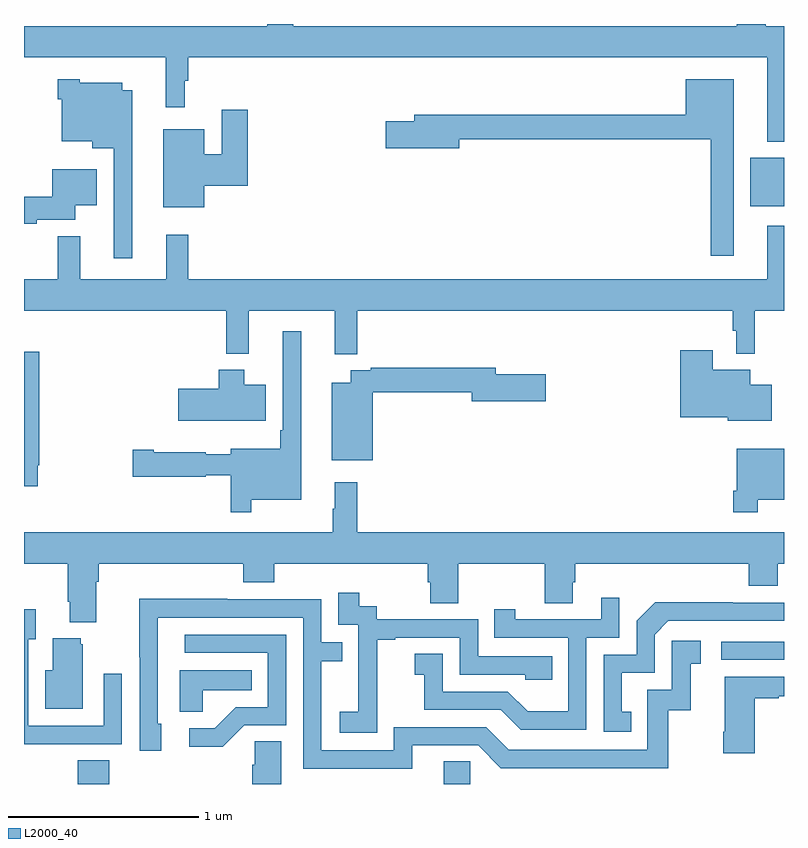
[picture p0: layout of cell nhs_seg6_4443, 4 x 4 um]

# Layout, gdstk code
import gdstk
lib = gdstk.Library(unit=1e-6, precision=1e-09)
def R(c, l, rs):  # rectangles x0, y0, x1, y1
    for r in rs: c.add(gdstk.rectangle(r[:2], r[2:], *l))
def P(c, l, *ps):  # polygons
    for p in ps: c.add(gdstk.Polygon(p, *l))
L2000_40 = (2000, 40)

nhs_seg6_4443 = lib.new_cell('nhs_seg6_4443')
R(nhs_seg6_4443, L2000_40, [(373.283,955.5,373.448,955.625), (375.209,955.5,375.348,955.619), (376.671,956.154,377,956.25), (376.823,958.541,377,958.795)])
P(nhs_seg6_4443, L2000_40, [(377,959.488),(376.903,959.488),(376.903,959.5),(376.751,959.5),(376.751,959.488),(374.417,959.488),(374.417,959.5),(374.281,959.5),(374.281,959.488),(373,959.488),(373,959.324),(373.747,959.324),(373.747,959.061),(373.847,959.061),(373.847,959.201),(373.865,959.201),(373.865,959.324),(376.913,959.324),(376.913,958.88),(377,958.88)],
  [(373.57,959.152),(373.516,959.152),(373.516,959.191),(373.293,959.191),(373.293,959.209),(373.178,959.209),(373.178,959.105),(373.199,959.105),(373.199,958.883),(373.358,958.883),(373.358,958.847),(373.473,958.847),(373.473,958.266),(373.57,958.266)],
  [(376.735,959.209),(376.484,959.209),(376.484,959.023),(375.053,959.023),(375.053,958.989),(374.904,958.989),(374.904,958.847),(375.292,958.847),(375.292,958.894),(376.614,958.894),(376.614,958.281),(376.735,958.281)],
  [(373.948,958.649),(374.177,958.649),(374.177,959.05),(374.042,959.05),(374.042,958.814),(373.948,958.814),(373.948,958.945),(373.733,958.945),(373.733,958.535),(373.948,958.535)],
  [(373.068,958.469),(373.27,958.469),(373.27,958.547),(373.384,958.547),(373.384,958.735),(373.148,958.735),(373.148,958.592),(373,958.592),(373,958.45),(373.068,958.45)],
  [(374.753,957.992),(376.729,957.992),(376.729,957.885),(376.749,957.885),(376.749,957.764),(376.847,957.764),(376.847,957.992),(377,957.992),(377,958.438),(376.913,958.438),(376.913,958.156),(373.865,958.156),(373.865,958.39),(373.748,958.39),(373.748,958.156),(373.295,958.156),(373.295,958.384),(373.177,958.384),(373.177,958.156),(373,958.156),(373,957.992),(374.065,957.992),(374.065,957.764),(374.183,957.764),(374.183,957.992),(374.636,957.992),(374.636,957.763),(374.753,957.763)],
  [(374.197,956.996),(374.458,956.996),(374.458,957.883),(374.361,957.883),(374.361,957.361),(374.349,957.361),(374.349,957.265),(374.087,957.265),(374.087,957.235),(373.956,957.235),(373.956,957.247),(373.684,957.247),(373.684,957.26),(373.572,957.26),(373.572,957.118),(373.956,957.118),(373.956,957.126),(374.087,957.126),(374.087,956.931),(374.197,956.931)],
  [(376.936,957.601),(376.822,957.601),(376.822,957.679),(376.624,957.679),(376.624,957.784),(376.454,957.784),(376.454,957.431),(376.704,957.431),(376.704,957.413),(376.936,957.413)],
  [(373.072,957.178),(373.079,957.178),(373.079,957.776),(373,957.776),(373,957.066),(373.072,957.066)],
  [(374.836,957.562),(375.356,957.562),(375.356,957.515),(375.745,957.515),(375.745,957.657),(375.484,957.657),(375.484,957.691),(374.824,957.691),(374.824,957.678),(374.72,957.678),(374.72,957.613),(374.621,957.613),(374.621,957.203),(374.836,957.203)],
  [(374.272,957.601),(374.158,957.601),(374.158,957.679),(374.024,957.679),(374.024,957.579),(373.812,957.579),(373.812,957.413),(374.272,957.413)],
  [(376.861,956.996),(377,956.996),(377,957.265),(376.752,957.265),(376.752,957.043),(376.732,957.043),(376.732,956.931),(376.861,956.931)],
  [(373.381,956.564),(373.394,956.564),(373.394,956.66),(374.153,956.66),(374.153,956.561),(374.318,956.561),(374.318,956.66),(375.125,956.66),(375.125,956.562),(375.137,956.562),(375.137,956.452),(375.285,956.452),(375.285,956.66),(375.742,956.66),(375.742,956.452),(375.889,956.452),(375.889,956.562),(375.902,956.562),(375.902,956.66),(376.814,956.66),(376.814,956.543),(376.966,956.543),(376.966,956.66),(377,956.66),(377,956.824),(374.753,956.824),(374.753,957.088),(374.636,957.088),(374.636,956.948),(374.625,956.948),(374.625,956.824),(373,956.824),(373,956.66),(373.229,956.66),(373.229,956.458),(373.241,956.458),(373.241,956.351),(373.381,956.351)],
  [(374.859,955.975),(374.858,955.975),(374.858,956.259),(374.953,956.259),(374.953,956.271),(375.294,956.271),(375.294,956.076),(375.639,956.076),(375.639,956.049),(375.779,956.049),(375.779,956.172),(375.39,956.172),(375.39,956.367),(374.856,956.367),(374.856,956.436),(374.764,956.436),(374.764,956.506),(374.655,956.506),(374.655,956.337),(374.76,956.337),(374.76,956.108),(374.759,956.108),(374.759,955.879),(374.661,955.879),(374.661,955.769),(374.859,955.769)],
  [(375.96,956.271),(376.134,956.271),(376.134,956.479),(376.037,956.479),(376.037,956.367),(375.586,956.367),(375.586,956.419),(375.475,956.419),(375.475,956.271),(375.864,956.271),(375.864,955.882),(375.65,955.882),(375.546,955.986),(375.204,955.986),(375.204,956.185),(375.057,956.185),(375.057,956.075),(375.106,956.075),(375.106,955.89),(375.509,955.89),(375.614,955.785),(375.96,955.785)],
  [(375.043,955.704),(375.39,955.704),(375.51,955.584),(376.39,955.584),(376.39,955.887),(376.508,955.887),(376.508,956.133),(376.561,956.133),(376.561,956.254),(376.41,956.254),(376.41,955.995),(376.281,955.995),(376.281,955.68),(375.552,955.68),(375.432,955.8),(374.946,955.8),(374.946,955.677),(374.565,955.677),(374.565,956.146),(374.675,956.146),(374.675,956.247),(374.565,956.247),(374.565,956.472),(374.069,956.472),(374.069,956.474),(373.606,956.474),(373.606,956.167),(373.608,956.167),(373.608,955.674),(373.723,955.674),(373.723,955.818),(373.704,955.818),(373.704,956.376),(374.469,956.376),(374.469,955.581),(375.043,955.581)],
  [(376.196,955.881),(376.147,955.881),(376.147,956.085),(376.32,956.085),(376.32,956.286),(376.392,956.358),(377,956.358),(377,956.454),(376.73,956.454),(376.73,956.456),(376.322,956.456),(376.224,956.358),(376.224,956.181),(376.05,956.181),(376.05,955.776),(376.196,955.776)],
  [(373.199,955.71),(373.515,955.71),(373.515,956.08),(373.419,956.08),(373.419,955.806),(373.023,955.806),(373.023,956.263),(373.063,956.263),(373.063,956.419),(373,956.419),(373,955.709),(373.199,955.709)],
  [(374.16,955.809),(374.379,955.809),(374.379,956.286),(373.845,956.286),(373.845,956.19),(374.283,956.19),(374.283,955.905),(374.114,955.905),(374.003,955.794),(373.869,955.794),(373.869,955.697),(374.047,955.697)],
  [(373.309,956.235),(373.298,956.235),(373.298,956.266),(373.151,956.266),(373.151,956.098),(373.112,956.098),(373.112,955.895),(373.309,955.895)],
  [(373.941,955.994),(374.198,955.994),(374.198,956.098),(373.82,956.098),(373.82,955.879),(373.941,955.879)],
  [(376.846,955.951),(376.973,955.951),(376.973,955.961),(377,955.961),(377,956.065),(376.688,956.065),(376.688,955.774),(376.681,955.774),(376.681,955.662),(376.846,955.662)],
  [(374.353,955.724),(374.214,955.724),(374.214,955.601),(374.201,955.601),(374.201,955.5),(374.353,955.5)])

lib.write_gds('nhs_seg6_4443.gds')
